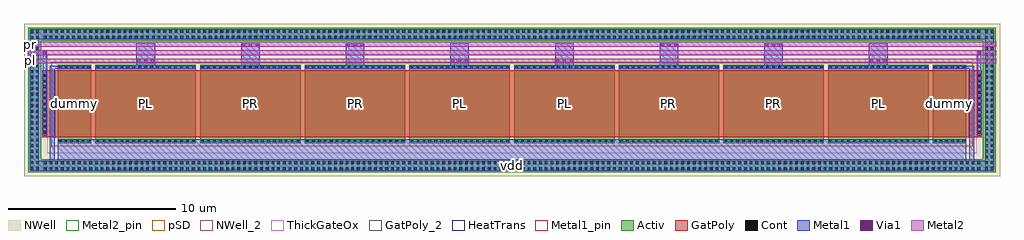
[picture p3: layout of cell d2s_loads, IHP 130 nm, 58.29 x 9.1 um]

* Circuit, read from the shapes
.subckt d2s_loads l2 pl pr vdd
XM1 vdd l2 vdd vdd sg13_hv_pmos w=2u l=4u m=2
XM2 pl l2 vdd vdd sg13_hv_pmos w=6u l=4u m=4
XM3 pr l2 vdd vdd sg13_hv_pmos w=6u l=4u m=4
.ends

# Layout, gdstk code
from math import pi, radians
import gdstk
lib = gdstk.Library(unit=1e-6, precision=1e-09)
def R(c, l, rs):  # rectangles x0, y0, x1, y1
    for r in rs: c.add(gdstk.rectangle(r[:2], r[2:], *l))
def A(c, l, x, y, w, h, nx, ny, dx, dy):  # array of equal rectangles
    R(c, l, [(x+i*dx, y+j*dy, x+i*dx+w, y+j*dy+h) for i in range(nx) for j in range(ny)])
Activ = (1, 0)
GatPoly = (5, 0)
GatPoly_2 = (5, 2)
Cont = (6, 0)
Metal1 = (8, 0)
Metal1_pin = (8, 2)
Metal2 = (10, 0)
Metal2_pin = (10, 2)
pSD = (14, 0)
Via1 = (19, 0)
NWell = (31, 0)
NWell_2 = (31, 2)
ThickGateOx = (44, 0)
HeatTrans = (51, 0)

pmoshv_15 = lib.new_cell('pmosHV$15')
R(pmoshv_15, Activ, [(0,0,0.3,0.3), (0,0,4.68,2), (4.38,0,4.68,0.3)])
R(pmoshv_15, GatPoly, [(0.34,-0.18,4.34,2.18)])
R(pmoshv_15, GatPoly_2, [(0.34,-0.18,4.34,2.18)])
A(pmoshv_15, Cont, 0.07, 0.07, 0.16, 0.16, 1, 6, 0, 0.34)
A(pmoshv_15, Cont, 4.45, 0.07, 0.16, 0.16, 1, 6, 0, 0.34)
R(pmoshv_15, Metal1, [(0.07,0,0.23,2), (4.45,0,4.61,2)])
R(pmoshv_15, Metal1_pin, [(0.07,0,0.23,2), (4.45,0,4.61,2)])
R(pmoshv_15, pSD, [(-0.18,-0.4,4.86,2.4)])
R(pmoshv_15, NWell, [(-0.62,-0.62,5.3,2.62)])
R(pmoshv_15, ThickGateOx, [(-0.62,-0.62,5.3,2.62)])
R(pmoshv_15, HeatTrans, [(0.34,-0.18,4.34,2.18)])
pmoshv_15.add(gdstk.Label('pmosHV', (2.34,1), layer=63, texttype=0))
pmoshv_15.add(gdstk.Label('pmos', (2.34,1), layer=51, texttype=0))

pmoshv_2 = lib.new_cell('pmosHV$2')
R(pmoshv_2, Activ, [(0,0,0.3,0.3), (0,0,4.68,6), (4.38,0,4.68,0.3)])
R(pmoshv_2, GatPoly, [(0.34,-0.18,4.34,6.18)])
R(pmoshv_2, GatPoly_2, [(0.34,-0.18,4.34,6.18)])
A(pmoshv_2, Cont, 0.07, 0.07, 0.16, 0.16, 1, 4, 0, 0.355)
A(pmoshv_2, Cont, 4.45, 0.07, 0.16, 0.16, 1, 4, 0, 0.355)
A(pmoshv_2, Cont, 0.07, 1.495, 0.16, 0.16, 1, 4, 0, 0.355)
A(pmoshv_2, Cont, 4.45, 1.495, 0.16, 0.16, 1, 4, 0, 0.355)
A(pmoshv_2, Cont, 0.07, 2.92, 0.16, 0.16, 1, 4, 0, 0.355)
A(pmoshv_2, Cont, 4.45, 2.92, 0.16, 0.16, 1, 4, 0, 0.355)
A(pmoshv_2, Cont, 0.07, 4.345, 0.16, 0.16, 1, 4, 0, 0.355)
A(pmoshv_2, Cont, 4.45, 4.345, 0.16, 0.16, 1, 4, 0, 0.355)
R(pmoshv_2, Cont, [(0.07,5.77,0.23,5.93), (4.45,5.77,4.61,5.93)])
R(pmoshv_2, Metal1, [(0.07,0,0.23,6), (4.45,0,4.61,6)])
R(pmoshv_2, Metal1_pin, [(0.07,0,0.23,6), (4.45,0,4.61,6)])
R(pmoshv_2, pSD, [(-0.18,-0.4,4.86,6.4)])
R(pmoshv_2, NWell, [(-0.62,-0.62,5.3,6.62)])
R(pmoshv_2, ThickGateOx, [(-0.62,-0.62,5.3,6.62)])
R(pmoshv_2, HeatTrans, [(0.34,-0.18,4.34,6.18)])
pmoshv_2.add(gdstk.Label('pmosHV', (2.34,3), layer=63, texttype=0))
pmoshv_2.add(gdstk.Label('pmos', (2.34,3), layer=51, texttype=0))

ntap1_24 = lib.new_cell('ntap1$24')
R(ntap1_24, Activ, [(0,0,0.78,8.62)])
A(ntap1_24, Cont, 0.14, 0.15, 0.16, 0.16, 1, 25, 0, 0.34)
A(ntap1_24, Cont, 0.48, 0.15, 0.16, 0.16, 1, 25, 0, 0.34)
R(ntap1_24, Metal1, [(0.14,0.1,0.64,8.52)])
R(ntap1_24, Metal1_pin, [(0.14,0.1,0.64,8.52), (0.14,0.15,0.64,8.47)])
R(ntap1_24, NWell, [(-0.24,-0.24,1.02,8.86), (0,0,0.78,8.62)])
R(ntap1_24, NWell_2, [(0,0,0.78,8.62)])
ntap1_24.add(gdstk.Label('well', (0.39,0.01), layer=63, texttype=0))
ntap1_24.add(gdstk.Label('well', (0.39,0.01), layer=31, texttype=0))

ntap1_14 = lib.new_cell('ntap1$14')
R(ntap1_14, Activ, [(0,0,56.25,0.78)])
A(ntap1_14, Cont, 0.165, 0.14, 0.16, 0.16, 165, 2, 0.34, 0.34)
R(ntap1_14, Metal1, [(0.165,0.09,56.085,0.69)])
R(ntap1_14, Metal1_pin, [(0.165,0.09,56.085,0.69), (0.165,0.14,56.085,0.64)])
R(ntap1_14, NWell, [(-0.24,-0.24,56.49,1.02), (0,0,56.25,0.78)])
R(ntap1_14, NWell_2, [(0,0,56.25,0.78)])
ntap1_14.add(gdstk.Label('well', (28.125,0.01), layer=63, texttype=0))
ntap1_14.add(gdstk.Label('well', (28.125,0.01), layer=31, texttype=0))

d2s_loads = lib.new_cell('d2s_loads')
R(d2s_loads, GatPoly, [(-0.93,0.34,-0.18,4.34), (54.43,0.34,55.18,4.34)])
A(d2s_loads, Cont, -0.86, 0.56, 0.16, 0.16, 1, 11, 0, 0.34)
A(d2s_loads, Cont, 54.95, 0.56, 0.16, 0.16, 1, 11, 0, 0.34)
A(d2s_loads, Metal1, 4.695, 4.45, 1.11, 1.52, 8, 1, 6.25, 0)
R(d2s_loads, Metal1, [(-1.64,-1.65,55.89,-1.64), (-1.24,-1.65,-0.735,-1.05), (0,-1.65,54.25,0.23), (54.985,-1.65,55.49,-1.05), (-0.47,-1.15,-0.18,4.61), (54.43,-1.15,54.72,4.61), (-0.91,0.43,-0.65,5.555), (54.9,0.43,55.16,5.555), (-0.47,4.45,0.1,4.61), (54.15,4.45,54.72,4.61), (-1.24,6.19,-0.735,6.79), (54.985,6.19,55.49,6.79), (-1.64,6.78,55.89,6.79)])
R(d2s_loads, Metal1_pin, [(-0.835,-1.65,55.085,-1.05)])
A(d2s_loads, Metal2_pin, -1.81, 4.755, 0.4, 0.29, 1, 3, 0, 0.5)
A(d2s_loads, Via1, 4.745, 4.805, 0.19, 0.19, 3, 1, 0.41, 0)
A(d2s_loads, Via1, 23.495, 4.805, 0.19, 0.19, 3, 1, 0.41, 0)
A(d2s_loads, Via1, 29.745, 4.805, 0.19, 0.19, 3, 1, 0.41, 0)
A(d2s_loads, Via1, 48.495, 4.805, 0.19, 0.19, 3, 1, 0.41, 0)
A(d2s_loads, Via1, 10.995, 5.77, 0.19, 0.19, 3, 1, 0.41, 0)
A(d2s_loads, Via1, 17.245, 5.77, 0.19, 0.19, 3, 1, 0.41, 0)
A(d2s_loads, Via1, 35.995, 5.77, 0.19, 0.19, 3, 1, 0.41, 0)
A(d2s_loads, Via1, 42.245, 5.77, 0.19, 0.19, 3, 1, 0.41, 0)
R(d2s_loads, Via1, [(-0.875,5.305,-0.685,5.495), (54.935,5.305,55.125,5.495)])
R(d2s_loads, NWell, [(-2.02,-1.98,56.27,7.12)])
R(d2s_loads, ThickGateOx, [(-0.62,-0.62,54.87,5.3)])
d2s_loads.add(gdstk.FlexPath([(-1.665,4.9),(55.915,4.9)], 0.29, ends="extended", simple_path=True, layer=10, datatype=0))  # Metal2
d2s_loads.add(gdstk.FlexPath([(-1.665,5.4),(55.915,5.4)], 0.29, ends="extended", simple_path=True, layer=10, datatype=0))  # Metal2
d2s_loads.add(gdstk.FlexPath([(-1.665,5.9),(55.915,5.9)], 0.29, ends="extended", simple_path=True, layer=10, datatype=0))  # Metal2
d2s_loads.add(gdstk.Reference(pmoshv_15, (0,4.68), rotation=3*pi/2))
r = gdstk.Reference(pmoshv_2, (2.25,4.68), rotation=3*pi/2); r.repetition = gdstk.Repetition(1, 8, v1=(0,0), v2=(6.25,0)); d2s_loads.add(r)
d2s_loads.add(gdstk.Reference(pmoshv_15, (52.25,4.68), rotation=3*pi/2))
d2s_loads.add(gdstk.Reference(ntap1_24, (-1.78,-1.74)))
d2s_loads.add(gdstk.Reference(ntap1_24, (55.25,-1.74)))
d2s_loads.add(gdstk.Reference(ntap1_14, (-1,6.1)))
d2s_loads.add(gdstk.Reference(ntap1_14, (-1,-1.74)))
d2s_loads.add(gdstk.Label('dummy', (1,2.34), layer=63, texttype=0))
d2s_loads.add(gdstk.Label('PL', (5.25,2.34), layer=63, texttype=0))
d2s_loads.add(gdstk.Label('PR', (11.5,2.34), layer=63, texttype=0))
d2s_loads.add(gdstk.Label('PR', (17.75,2.34), layer=63, texttype=0))
d2s_loads.add(gdstk.Label('PL', (24,2.34), layer=63, texttype=0))
d2s_loads.add(gdstk.Label('PL', (30.25,2.34), layer=63, texttype=0))
d2s_loads.add(gdstk.Label('PR', (36.5,2.34), layer=63, texttype=0))
d2s_loads.add(gdstk.Label('PR', (42.75,2.34), layer=63, texttype=0))
d2s_loads.add(gdstk.Label('PL', (49,2.34), layer=63, texttype=0))
d2s_loads.add(gdstk.Label('dummy', (53.25,2.34), layer=63, texttype=0))
d2s_loads.add(gdstk.Label('vdd', (27.125,-1.35), layer=8, texttype=25))
d2s_loads.add(gdstk.Label('pl', (-1.61,4.9), layer=10, texttype=25))
d2s_loads.add(gdstk.Label('l2', (-1.61,5.4), layer=10, texttype=25))
d2s_loads.add(gdstk.Label('pr', (-1.61,5.9), layer=10, texttype=25))

lib.write_gds('d2s_loads.gds')
